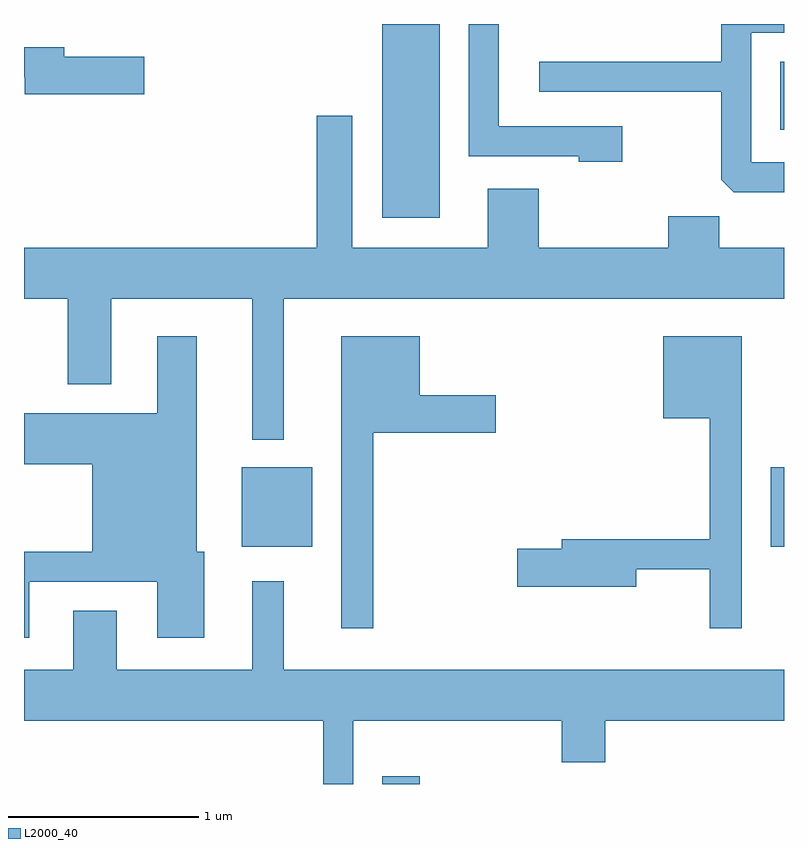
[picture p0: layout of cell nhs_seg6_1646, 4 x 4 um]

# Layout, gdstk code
import gdstk
lib = gdstk.Library(unit=1e-6, precision=1e-09)
def R(c, l, rs):  # rectangles x0, y0, x1, y1
    for r in rs: c.add(gdstk.rectangle(r[:2], r[2:], *l))
def P(c, l, *ps):  # polygons
    for p in ps: c.add(gdstk.Polygon(p, *l))
L2000_40 = (2000, 40)

nhs_seg6_1646 = lib.new_cell('nhs_seg6_1646')
R(nhs_seg6_1646, L2000_40, [(237.496,1534.162,237.694,1534.204), (236.756,1535.411,237.129,1535.829), (239.541,1535.411,239.611,1535.829), (237.496,1537.141,237.799,1538.162), (239.591,1537.606,239.611,1537.964)])
P(nhs_seg6_1646, L2000_40, [(239.611,1537.434),(239.439,1537.434),(239.439,1538.116),(239.611,1538.116),(239.611,1538.162),(239.281,1538.162),(239.281,1537.964),(238.323,1537.964),(238.323,1537.806),(239.281,1537.806),(239.281,1537.342),(239.347,1537.276),(239.611,1537.276)],
  [(238.759,1537.624),(238.109,1537.624),(238.109,1538.162),(237.951,1538.162),(237.951,1537.466),(238.531,1537.466),(238.531,1537.436),(238.759,1537.436)],
  [(236.244,1537.989),(235.824,1537.989),(235.824,1538.039),(235.611,1538.039),(235.611,1537.881),(235.616,1537.881),(235.616,1537.791),(236.244,1537.791)],
  [(236.979,1536.716),(239.611,1536.716),(239.611,1536.984),(239.269,1536.984),(239.269,1537.149),(239.001,1537.149),(239.001,1536.984),(238.319,1536.984),(238.319,1537.294),(238.051,1537.294),(238.051,1536.984),(237.339,1536.984),(237.339,1537.679),(237.151,1537.679),(237.151,1536.984),(235.611,1536.984),(235.611,1536.716),(235.841,1536.716),(235.841,1536.266),(236.069,1536.266),(236.069,1536.716),(236.811,1536.716),(236.811,1535.973),(236.979,1535.973)],
  [(235.639,1535.226),(236.311,1535.226),(236.311,1534.931),(236.559,1534.931),(236.559,1535.384),(236.519,1535.384),(236.519,1536.519),(236.311,1536.519),(236.311,1536.114),(235.611,1536.114),(235.611,1535.846),(235.971,1535.846),(235.971,1535.384),(235.611,1535.384),(235.611,1534.931),(235.639,1534.931)],
  [(237.449,1536.011),(238.094,1536.011),(238.094,1536.209),(237.694,1536.209),(237.694,1536.519),(237.281,1536.519),(237.281,1534.983),(237.449,1534.983)],
  [(239.389,1536.519),(238.976,1536.519),(238.976,1536.086),(239.221,1536.086),(239.221,1535.449),(238.441,1535.449),(238.441,1535.399),(238.206,1535.399),(238.206,1535.201),(238.834,1535.201),(238.834,1535.291),(239.221,1535.291),(239.221,1534.983),(239.389,1534.983)],
  [(237.344,1534.496),(238.441,1534.496),(238.441,1534.276),(238.669,1534.276),(238.669,1534.496),(239.611,1534.496),(239.611,1534.764),(236.979,1534.764),(236.979,1535.228),(236.811,1535.228),(236.811,1534.764),(236.099,1534.764),(236.099,1535.074),(235.871,1535.074),(235.871,1534.764),(235.611,1534.764),(235.611,1534.496),(237.186,1534.496),(237.186,1534.162),(237.344,1534.162)])

lib.write_gds('nhs_seg6_1646.gds')
